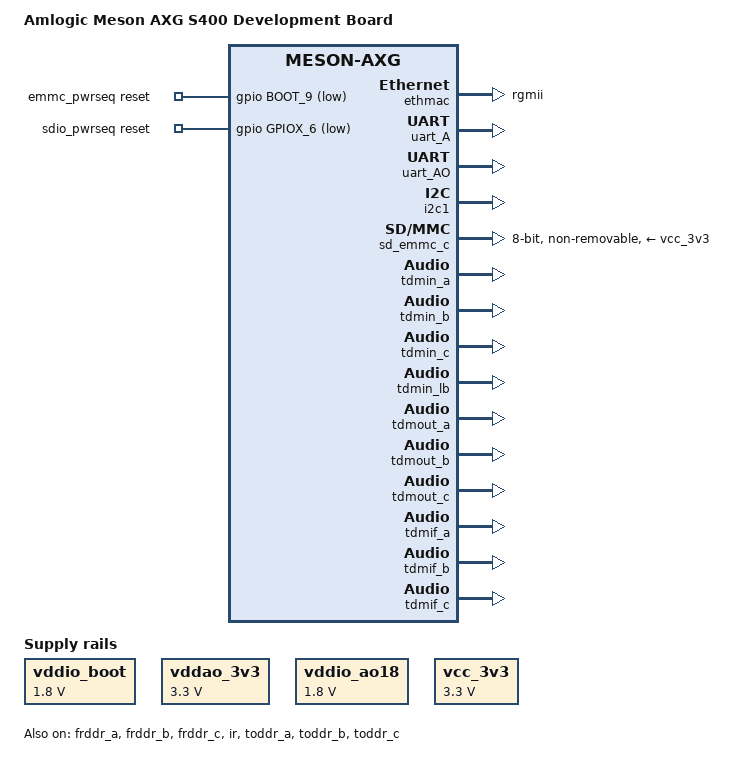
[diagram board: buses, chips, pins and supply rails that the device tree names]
// SPDX-License-Identifier: (GPL-2.0+ OR MIT)
/*
 * Copyright (c) 2017 Amlogic, Inc. All rights reserved.
 */

/dts-v1/;

#include "meson-axg.dtsi"

/ {
	compatible = "amlogic,s400", "amlogic,a113d", "amlogic,meson-axg";
	model = "Amlogic Meson AXG S400 Development Board";

	aliases {
		serial0 = &uart_AO;
		serial1 = &uart_A;
	};

	vddio_boot: regulator-vddio_boot {
		compatible = "regulator-fixed";
		regulator-name = "VDDIO_BOOT";
		regulator-min-microvolt = <1800000>;
		regulator-max-microvolt = <1800000>;
	};

	vddao_3v3: regulator-vddao_3v3 {
		compatible = "regulator-fixed";
		regulator-name = "VDDAO_3V3";
		regulator-min-microvolt = <3300000>;
		regulator-max-microvolt = <3300000>;
	};

	vddio_ao18: regulator-vddio_ao18 {
		compatible = "regulator-fixed";
		regulator-name = "VDDIO_AO18";
		regulator-min-microvolt = <1800000>;
		regulator-max-microvolt = <1800000>;
	};

	vcc_3v3: regulator-vcc_3v3 {
		compatible = "regulator-fixed";
		regulator-name = "VCC_3V3";
		regulator-min-microvolt = <3300000>;
		regulator-max-microvolt = <3300000>;
	};

	emmc_pwrseq: emmc-pwrseq {
		compatible = "mmc-pwrseq-emmc";
		reset-gpios = <&gpio BOOT_9 GPIO_ACTIVE_LOW>;
	};

	sdio_pwrseq: sdio-pwrseq {
		compatible = "mmc-pwrseq-simple";
		reset-gpios = <&gpio GPIOX_6 GPIO_ACTIVE_LOW>;
	};
};

&clkc_audio {
	status = "okay";

	assigned-clocks = <&clkc CLKID_HIFI_PLL>,
			  <&clkc CLKID_MPLL0>,
			  <&clkc CLKID_MPLL1>;
	assigned-clock-parents = <0>, <0>, <0>;
	assigned-clock-rates = <589824000>,
			       <270950400>,
			       <393216000>;
};

&ethmac {
	status = "okay";
	phy-mode = "rgmii";
	pinctrl-0 = <&eth_rgmii_y_pins>;
	pinctrl-names = "default";
};

&frddr_a {
	status = "okay";
};

&frddr_b {
	status = "okay";
};

&frddr_c {
	status = "okay";
};

&uart_A {
	status = "okay";
	pinctrl-0 = <&uart_a_pins>;
	pinctrl-names = "default";
};

&uart_AO {
	status = "okay";
	pinctrl-0 = <&uart_ao_a_pins>;
	pinctrl-names = "default";
};

&ir {
	status = "okay";
	pinctrl-0 = <&remote_input_ao_pins>;
	pinctrl-names = "default";
};

&i2c1 {
	status = "okay";
	pinctrl-0 = <&i2c1_z_pins>;
	pinctrl-names = "default";
};

/* emmc storage */
&sd_emmc_c {
	status = "okay";
	pinctrl-0 = <&emmc_pins>;
	pinctrl-1 = <&emmc_clk_gate_pins>;
	pinctrl-names = "default", "clk-gate";

	bus-width = <8>;
	cap-sd-highspeed;
	cap-mmc-highspeed;
	max-frequency = <180000000>;
	non-removable;
	disable-wp;
	mmc-ddr-1_8v;
	mmc-hs200-1_8v;

	vmmc-supply = <&vcc_3v3>;
	vqmmc-supply = <&vddio_boot>;
};

&tdmin_a {
	status = "okay";
};

&tdmin_b {
	status = "okay";
};

&tdmin_c {
	status = "okay";
};

&tdmin_lb {
	status = "okay";
};

&tdmout_a {
	status = "okay";
};

&tdmout_b {
	status = "okay";
};

&tdmout_c {
	status = "okay";
};

&tdmif_a {
	status = "okay";
};

&tdmif_b {
	status = "okay";
};

&tdmif_c {
	status = "okay";
};

&toddr_a {
	status = "okay";
};

&toddr_b {
	status = "okay";
};

&toddr_c {
	status = "okay";
};
